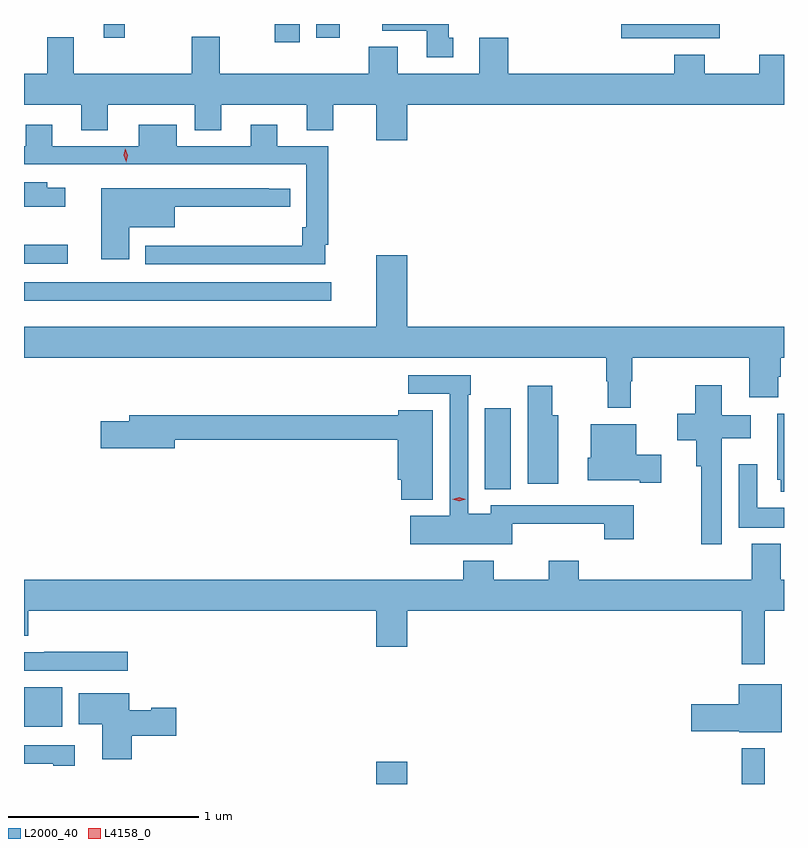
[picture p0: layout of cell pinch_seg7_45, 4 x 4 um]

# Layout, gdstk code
import gdstk
lib = gdstk.Library(unit=1e-6, precision=1e-09)
def R(c, l, rs):  # rectangles x0, y0, x1, y1
    for r in rs: c.add(gdstk.rectangle(r[:2], r[2:], *l))
def P(c, l, *ps):  # polygons
    for p in ps: c.add(gdstk.Polygon(p, *l))
L2000_40 = (2000, 40)
L4158_0 = (4158, 0)

pinch_seg7_45 = lib.new_cell('pinch_seg7_45')
R(pinch_seg7_45, L2000_40, [(884.288,1050.321,884.452,1050.439), (886.212,1050.321,886.333,1050.508), (882.435,1050.623,882.637,1050.829), (884.861,1051.873,884.998,1052.299), (882.435,1052.864,884.053,1052.961), (882.435,1053.06,882.664,1053.158), (883.754,1054.224,883.885,1054.321), (885.579,1054.247,886.098,1054.321), (882.854,1054.248,882.964,1054.321), (883.973,1054.248,884.098,1054.321)])
P(pinch_seg7_45, L2000_40, [(884.695,1054.248),(884.671,1054.248),(884.671,1054.321),(884.32,1054.321),(884.32,1054.286),(884.555,1054.286),(884.555,1054.146),(884.695,1054.146)],
  [(884.452,1053.896),(886.435,1053.896),(886.435,1054.159),(886.306,1054.159),(886.306,1054.06),(886.017,1054.06),(886.017,1054.159),(885.857,1054.159),(885.857,1054.06),(884.984,1054.06),(884.984,1054.249),(884.831,1054.249),(884.831,1054.06),(884.401,1054.06),(884.401,1054.201),(884.249,1054.201),(884.249,1054.06),(883.465,1054.06),(883.465,1054.255),(883.318,1054.255),(883.318,1054.06),(882.697,1054.06),(882.697,1054.25),(882.557,1054.25),(882.557,1054.06),(882.435,1054.06),(882.435,1053.896),(882.737,1053.896),(882.737,1053.763),(882.877,1053.763),(882.877,1053.896),(883.334,1053.896),(883.334,1053.763),(883.474,1053.763),(883.474,1053.896),(883.922,1053.896),(883.922,1053.763),(884.062,1053.763),(884.062,1053.896),(884.288,1053.896),(884.288,1053.708),(884.452,1053.708)],
  [(884.021,1053.16),(884.036,1053.16),(884.036,1053.678),(883.768,1053.678),(883.768,1053.79),(883.628,1053.79),(883.628,1053.678),(883.24,1053.678),(883.24,1053.79),(883.04,1053.79),(883.04,1053.678),(882.583,1053.678),(882.583,1053.79),(882.443,1053.79),(882.443,1053.678),(882.435,1053.678),(882.435,1053.582),(883.92,1053.582),(883.92,1053.25),(883.9,1053.25),(883.9,1053.155),(883.324,1053.155),(883.324,1053.153),(883.073,1053.153),(883.073,1053.057),(884.021,1053.057)],
  [(882.652,1053.46),(882.558,1053.46),(882.558,1053.487),(882.435,1053.487),(882.435,1053.359),(882.652,1053.359)],
  [(882.988,1053.251),(883.228,1053.251),(883.228,1053.359),(883.835,1053.359),(883.835,1053.455),(883.724,1053.455),(883.724,1053.456),(883.124,1053.456),(883.124,1053.457),(882.842,1053.457),(882.842,1053.084),(882.988,1053.084)],
  [(885.499,1052.441),(885.507,1052.441),(885.507,1052.301),(885.628,1052.301),(885.628,1052.441),(885.635,1052.441),(885.635,1052.564),(886.253,1052.564),(886.253,1052.356),(886.405,1052.356),(886.405,1052.465),(886.418,1052.465),(886.418,1052.564),(886.435,1052.564),(886.435,1052.728),(884.452,1052.728),(884.452,1053.103),(884.288,1053.103),(884.288,1052.728),(882.435,1052.728),(882.435,1052.564),(885.499,1052.564)],
  [(885.004,1051.691),(885.49,1051.691),(885.49,1051.608),(885.645,1051.608),(885.645,1051.789),(885.405,1051.789),(885.405,1051.788),(884.891,1051.788),(884.891,1051.744),(884.772,1051.744),(884.772,1052.369),(884.785,1052.369),(884.785,1052.472),(884.457,1052.472),(884.457,1052.376),(884.676,1052.376),(884.676,1051.732),(884.469,1051.732),(884.469,1051.583),(885.004,1051.583)],
  [(886.107,1052.141),(886.261,1052.141),(886.261,1052.263),(886.108,1052.263),(886.108,1052.419),(885.967,1052.419),(885.967,1052.271),(885.872,1052.271),(885.872,1052.129),(885.974,1052.129),(885.974,1051.994),(885.999,1051.994),(885.999,1051.584),(886.107,1051.584)],
  [(885.247,1052.263),(885.216,1052.263),(885.216,1052.416),(885.086,1052.416),(885.086,1051.902),(885.247,1051.902)],
  [(884.587,1052.287),(884.406,1052.287),(884.406,1052.263),(882.989,1052.263),(882.989,1052.229),(882.84,1052.229),(882.84,1052.087),(883.228,1052.087),(883.228,1052.134),(884.402,1052.134),(884.402,1051.923),(884.42,1051.923),(884.42,1051.817),(884.587,1051.817)],
  [(886.435,1052.271),(886.4,1052.271),(886.4,1051.923),(886.418,1051.923),(886.418,1051.86),(886.435,1051.86)],
  [(885.79,1052.054),(885.658,1052.054),(885.658,1052.215),(885.419,1052.215),(885.419,1052.037),(885.401,1052.037),(885.401,1051.919),(885.677,1051.919),(885.677,1051.907),(885.79,1051.907)],
  [(886.435,1051.774),(886.293,1051.774),(886.293,1052.005),(886.197,1052.005),(886.197,1051.67),(886.435,1051.67)],
  [(886.333,1051.232),(886.435,1051.232),(886.435,1051.396),(886.418,1051.396),(886.418,1051.585),(886.265,1051.585),(886.265,1051.396),(885.356,1051.396),(885.356,1051.495),(885.196,1051.495),(885.196,1051.396),(884.907,1051.396),(884.907,1051.495),(884.747,1051.495),(884.747,1051.396),(882.435,1051.396),(882.435,1051.101),(882.458,1051.101),(882.458,1051.232),(884.288,1051.232),(884.288,1051.044),(884.452,1051.044),(884.452,1051.232),(886.212,1051.232),(886.212,1050.951),(886.333,1050.951)],
  [(882.982,1051.016),(882.541,1051.016),(882.541,1051.014),(882.435,1051.014),(882.435,1050.918),(882.982,1050.918)],
  [(886.423,1050.847),(886.196,1050.847),(886.196,1050.741),(885.948,1050.741),(885.948,1050.599),(886.2,1050.599),(886.2,1050.593),(886.423,1050.593)],
  [(883.001,1050.575),(883.237,1050.575),(883.237,1050.722),(883.104,1050.722),(883.104,1050.709),(882.988,1050.709),(882.988,1050.799),(882.722,1050.799),(882.722,1050.635),(882.848,1050.635),(882.848,1050.45),(883.001,1050.45)],
  [(882.703,1050.525),(882.435,1050.525),(882.435,1050.427),(882.59,1050.427),(882.59,1050.417),(882.703,1050.417)])
P(pinch_seg7_45, L4158_0, [(884.725,1051.81),(884.69,1051.82),(884.69,1051.82),(884.69,1051.82),(884.725,1051.83),(884.76,1051.82),(884.76,1051.82),(884.76,1051.82)],
  [(882.974,1053.594),(882.973,1053.595),(882.961,1053.629),(882.969,1053.665),(882.969,1053.665),(882.969,1053.665),(882.981,1053.631),(882.974,1053.595)])

lib.write_gds('pinch_seg7_45.gds')
